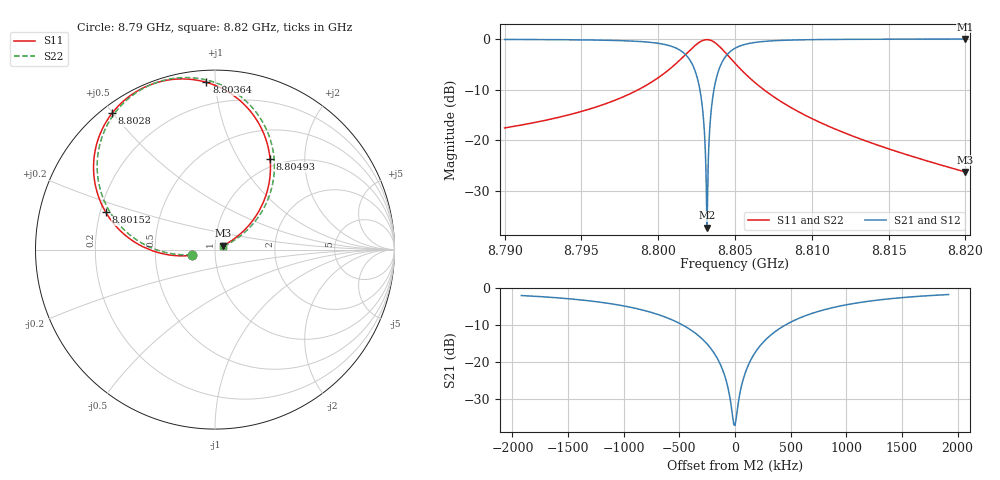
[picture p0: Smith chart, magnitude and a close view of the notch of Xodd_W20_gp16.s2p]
! Sonnet Data File
! From: emgraph Version : 16.52
! From Project: Qubit_Xmon2
! Data is De-embedded
! Data File Written: 10/18/2017 11:36:09
!< HDATE 10/18/2017 10:24:37
!< MDATE 10/18/2017 10:24:37
!< PARAMS
!< Lj = 11.0
!< Gap = 16.0
!< Pwid = 2000.0
!< Airgap = 12.0
!< Width = 20.0
!< END PARAMS
# GHZ S MA R 40.13000
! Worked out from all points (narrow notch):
!   3001 points, 8.79 GHz to 8.82 GHz, reference 40.13 ohm
!   highest |S21| = -0.01 dB at 8.82 GHz (marker M1); lowest = -37.2 dB at 8.80318 GHz (marker M2)
!   notch at M2: 37.0 dB deep, 320 kHz wide at half that depth
!   lowest |S11| = -26.2 dB at 8.82 GHz (marker M3), VSWR 1.10, Z = 43.8 + j1.86 ohm
!   |S11| at or under -10 dB: start of sweep to 8.798697 GHz; 8.806881 GHz to end of sweep
!   |S22| runs from -26.2 to -0.1 dB; largest |S21 - S12| = 0
!   S11 on the Smith chart (normalised r, x): 8.79 GHz: 0.77, -0.05; 8.80152 GHz: 0.22, +0.16; 8.8028 GHz: 0.03, +0.50; 8.80364 GHz: 0.07, +0.95; 8.80493 GHz: 0.88, +1.37; 8.82 GHz: 1.09, +0.05
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8.79  0.133 -166.2  0.991 -77.0  0.991 -77.0  0.133 -168.0
!< P1 F=8.79 Eeff=(4.99688633 -5.9225e-5) Z0=(38.486563 -1.2923e-4) R=0.0 C=0.0
!< P2 F=8.79 Eeff=(4.99688633 -5.9225e-5) Z0=(38.486563 -1.2923e-4) R=0.0 C=0.0
8.795  0.1932 -169.6  0.9808 -80.5  0.9808 -80.5  0.1932 -171.7
8.79796  0.2792 -174.7  0.9593 -85.6  0.9593 -85.6  0.2792 -176.9
8.8  0.4154 176.9  0.9074 -94.0  0.9074 -94.0  0.4154 174.5
8.80152  0.6439 161.1  0.7583 -109.5  0.7583 -109.5  0.6438 158.6
8.80232  0.842 143.2  0.5219 -126.8  0.5219 -126.8  0.842 140.7
8.80259  0.9095 134.6  0.3884 -134.8  0.3884 -134.8  0.9095 132.1
8.8028  0.9523 127.0  0.2623 -141.5  0.2623 -141.5  0.9523 124.5
8.80295  0.9737 121.1  0.162 -145.5  0.162 -145.5  0.9737 118.5
8.80308  0.9842 115.8  0.07072 -144.6  0.07072 -144.6  0.9842 113.2
8.80318  0.9865 111.6  0.01382 -56.7  0.01382 -56.7  0.9865 109.1
8.80328  0.9836 107.5  0.07711 6.1  0.07711 6.1  0.9836 104.9
8.80338  0.9756 103.3  0.1485 6.8  0.1485 6.8  0.9755 100.7
8.80345  0.967 100.5  0.1976 5.3  0.1976 5.3  0.967 97.9
8.80364  0.9332 93.0  0.3237 -0.7  0.3237 -0.7  0.9332 90.3
8.80413  0.8037 76.4  0.5794 -16.0  0.5794 -16.0  0.8036 73.8
8.80493  0.5919 58.8  0.7995 -33.2  0.7995 -33.2  0.5919 56.1
8.805  0.5764 57.7  0.8111 -34.3  0.8111 -34.3  0.5764 55.0
8.80679  0.324 41.2  0.9442 -50.6  0.9442 -50.6  0.324 38.3
8.81  0.1646 31.7  0.9858 -60.0  0.9858 -60.0  0.1646 28.5
8.815  0.08271 27.2  0.9964 -64.8  0.9964 -64.8  0.08271 23.4
8.82  0.0489 25.6  0.9987 -66.8  0.9987 -66.8  0.0489 20.9
